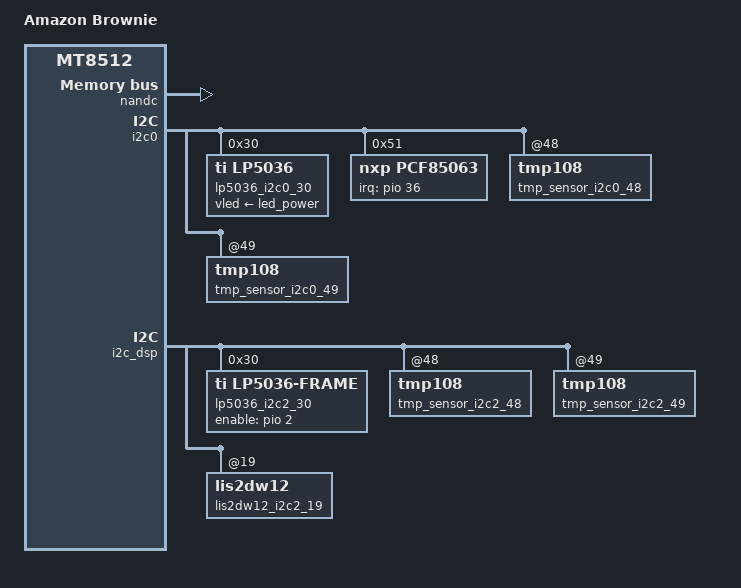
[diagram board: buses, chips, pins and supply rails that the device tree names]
/*
 * Copyright (c) 2019 - 2020 Amazon.com
 *
 * SPDX-License-Identifier: (GPL-2.0)
 */

/dts-v1/;
#include "brownie-mt8512.dtsi"

/ {
	model = "Amazon Brownie";
	compatible = "amzn,brownie-mt8512-nand-proto", "mediatek,mt8512";

	aliases {
		ringled0 = &lp5036_i2c0_30;
		display0 = &lp5036_i2c2_30;
	};

	chosen {
		bootargs = "";
	};

};

&nandc {
	status = "okay";
};

&i2c0 {
	lp5036_i2c0_31: lp5036@31 {
		status = "disabled";
	};

	lp5036_i2c0_30: lp5036@30 {
	#address-cells = <1>;
	#size-cells = <0>;
	compatible = "ti,lp5036";
	reg = <0x30>;
	vled-supply = <&led_power>;
	status = "okay";
		led@0 {
			reg = <0>;
			label = "ledmod_0";
			ti,led-module = <11>;
			rgb-map = /bits/ 8 <1 0 2>;
			linux,default-trigger = "boot-anim";
		};
		led@1 {
			reg = <1>;
			label = "ledmod_1";
			ti,led-module = <10>;
			rgb-map = /bits/ 8 <1 0 2>;
			linux,default-trigger = "boot-anim";
		};
		led@2 {
			reg = <2>;
			label = "ledmod_2";
			ti,led-module = <9>;
			rgb-map = /bits/ 8 <1 0 2>;
			linux,default-trigger = "boot-anim";
		};
		led@3 {
			reg = <3>;
			label = "ledmod_3";
			ti,led-module = <8>;
			rgb-map = /bits/ 8 <1 0 2>;
			linux,default-trigger = "boot-anim";
		};
		led@4 {
			reg = <4>;
			label = "ledmod_4";
			ti,led-module = <7>;
			rgb-map = /bits/ 8 <1 0 2>;
			linux,default-trigger = "boot-anim";
		};
		led@5 {
			reg = <5>;
			label = "ledmod_5";
			ti,led-module = <6>;
			rgb-map = /bits/ 8 <1 0 2>;
			linux,default-trigger = "boot-anim";
		};
		led@6 {
			reg = <6>;
			label = "ledmod_6";
			ti,led-module = <5>;
			rgb-map = /bits/ 8 <1 0 2>;
			linux,default-trigger = "boot-anim";
		};
		led@7 {
			reg = <7>;
			label = "ledmod_7";
			ti,led-module = <4>;
			rgb-map = /bits/ 8 <1 0 2>;
			linux,default-trigger = "boot-anim";
		};
		led@8 {
			reg = <8>;
			label = "ledmod_8";
			ti,led-module = <3>;
			rgb-map = /bits/ 8 <1 0 2>;
			linux,default-trigger = "boot-anim";
		};
		led@9 {
			reg = <9>;
			label = "ledmod_9";
			ti,led-module = <2>;
			rgb-map = /bits/ 8 <1 0 2>;
			linux,default-trigger = "boot-anim";
		};
		led@10 {
			reg = <10>;
			label = "ledmod_10";
			ti,led-module = <1>;
			rgb-map = /bits/ 8 <1 0 2>;
			linux,default-trigger = "boot-anim";
		};
		led@11 {
			reg = <11>;
			label = "ledmod_11";
			ti,led-module = <0>;
			rgb-map = /bits/ 8 <1 0 2>;
			linux,default-trigger = "boot-anim";
		};

	};

	pcf85063: rtc@51 {
		compatible = "nxp,pcf85063";
		reg = <0x51>;
		interrupt-parent = <&pio>;
		interrupts = <36 IRQ_TYPE_LEVEL_LOW>;
		pinctrl-names = "default";
		pinctrl-0 = <&rtc_irq>;
		status = "okay";
	};

	tmp_sensor_i2c0_48: tmp108@48 {
		status = "okay";
	};

	tmp_sensor_i2c0_49: tmp108@49 {
		status = "okay";
	};
};

&i2c_dsp {
	lp5036_i2c2_30: lp5036@30 {
		compatible = "ti,lp5036-frame";
		reg = <0x30>;
		channel-map = /bits/ 8 <3 9 2 5 11 10 8 6 7 1
			14 16 15 12 4 13 18 17 34 31
			23 20 19 21 22 33 29 27 25 24
			30 28 32 26 0 35>;
		enable-gpio = <&pio 2 GPIO_ACTIVE_HIGH>;
		status = "okay";
	};

	tmp_sensor_i2c2_48: tmp108@48 {
		status = "okay";
	};

	tmp_sensor_i2c2_49: tmp108@49 {
		status = "okay";
	};

	lis2dw12_i2c2_19: lis2dw12@19 {
		pinctrl-names = "default";
		pinctrl-0 = <&lis2dw12_pins_proto>;
	};
};

&pio {
	lis2dw12_pins_proto: lis2dw12_pins_proto {
		pins_dat {
			pinmux = <MT8512_PIN_111_I2SO_DAT3__FUNC_GPIO111>;
			bias-pull-up;
		};
	};
};
